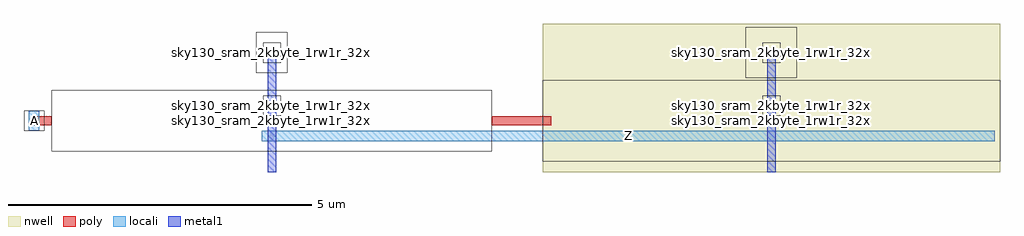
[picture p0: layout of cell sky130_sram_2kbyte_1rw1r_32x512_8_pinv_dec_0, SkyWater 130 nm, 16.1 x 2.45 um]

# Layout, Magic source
magic
tech sky130A
magscale 1 2
<< nwell >>
rect 1756 0 3264 490
<< poly >>
rect 77 155 136 185
rect 1588 155 1784 185
<< locali >>
rect 60 137 94 203
rect 829 103 3246 137
<< metal1 >>
rect 848 0 876 395
rect 2496 0 2524 395
use sky130_sram_2kbyte_1rw1r_32x512_8_nmos_m1_w7_000_sli_dli_da_p  sky130_sram_2kbyte_1rw1r_32x512_8_nmos_m1_w7_000_sli_dli_da_p_0
transform 0 1 162 -1 0 245
box -26 -26 176 1426
use sky130_sram_2kbyte_1rw1r_32x512_8_pmos_m1_w7_000_sli_dli_da_p  sky130_sram_2kbyte_1rw1r_32x512_8_pmos_m1_w7_000_sli_dli_da_p_0
transform 0 1 1810 -1 0 245
box -59 -54 209 1454
use sky130_sram_2kbyte_1rw1r_32x512_8_contact_15  sky130_sram_2kbyte_1rw1r_32x512_8_contact_15_0
transform 1 0 837 0 1 354
box -26 -26 76 108
use sky130_sram_2kbyte_1rw1r_32x512_8_contact_14  sky130_sram_2kbyte_1rw1r_32x512_8_contact_14_0
transform 1 0 2481 0 1 187
box 0 0 58 66
use sky130_sram_2kbyte_1rw1r_32x512_8_contact_14  sky130_sram_2kbyte_1rw1r_32x512_8_contact_14_1
transform 1 0 833 0 1 187
box 0 0 58 66
use sky130_sram_2kbyte_1rw1r_32x512_8_contact_16  sky130_sram_2kbyte_1rw1r_32x512_8_contact_16_0
transform 1 0 44 0 1 137
box 0 0 66 66
use sky130_sram_2kbyte_1rw1r_32x512_8_contact_14  sky130_sram_2kbyte_1rw1r_32x512_8_contact_14_2
transform 1 0 833 0 1 362
box 0 0 58 66
use sky130_sram_2kbyte_1rw1r_32x512_8_contact_14  sky130_sram_2kbyte_1rw1r_32x512_8_contact_14_3
transform 1 0 2481 0 1 362
box 0 0 58 66
use sky130_sram_2kbyte_1rw1r_32x512_8_contact_13  sky130_sram_2kbyte_1rw1r_32x512_8_contact_13_0
transform 1 0 2485 0 1 354
box -59 -43 109 125
<< labels >>
rlabel metal1 s 848 0 876 395 4 gnd
rlabel metal1 s 2496 0 2524 395 4 vdd
rlabel locali s 77 170 77 170 4 A
rlabel locali s 2037 120 2037 120 4 Z
<< properties >>
string FIXED_BBOX 0 0 3246 395
<< end >>
